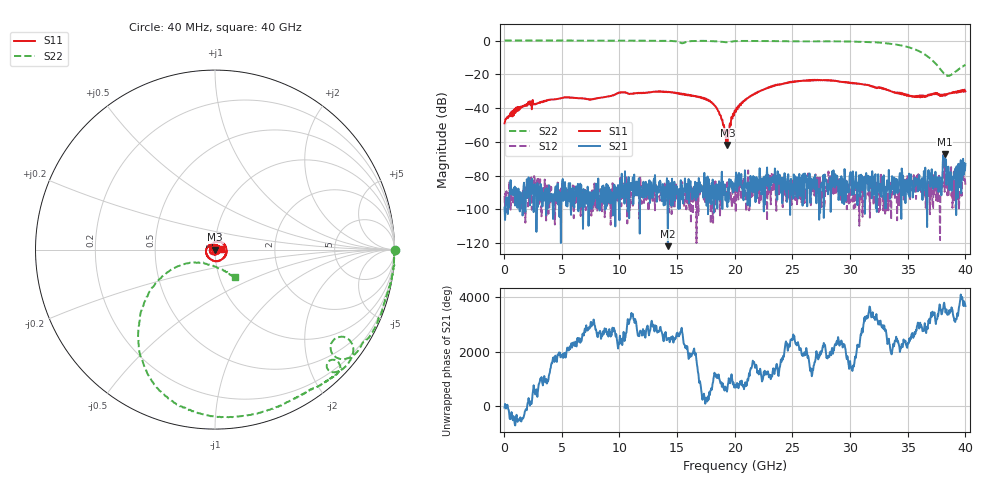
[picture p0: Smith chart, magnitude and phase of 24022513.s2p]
! 3/27/2024 10:51:03 AM
! D:\MS4647AVNA\292M185F 240225XX\24022513.S2P
! CHANNEL.1
! TR.MEASUREMENT
! CORRECTED.DATA
# GHZ S RI R 50.0
! FREQ.GHZ  S11RE  S11IM  S21RE  S21IM  S12RE  S12IM  S22RE  S22IM
!; PortSelection: Port_12
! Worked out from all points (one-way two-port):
!   1000 points, 40 MHz to 40 GHz, reference 50 ohm
!   highest |S21| = -67.38 dB at 38.2 GHz (marker M1); lowest = -121.9 dB at 14.2 GHz (marker M2)
!   lowest |S11| = -61.9 dB at 19.36 GHz (marker M3), VSWR 1.00, Z = 50 - j0.0709 ohm
!   |S11| at or under -10 dB: start of sweep to end of sweep
!   |S22| runs from -21.0 to 0.0 dB; largest |S21 - S12| = 0.00058
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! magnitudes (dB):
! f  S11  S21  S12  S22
! 40 MHz  -49.1  -99.2  -92.1  0.0
! 960 MHz  -43.0  -97.8  -92.8  0.0
! 2.16 GHz  -37.7  -84.3  -95.3  0.0
! 6.72 GHz  -34.3  -98.0  -91.6  -0.1
! 13.36 GHz  -30.1  -88.1  -90.7  -0.2
! 14.2 GHz  -30.5  -121.9  -91.7  -0.2
! 17.88 GHz  -36.3  -86.3  -89.0  -0.3
! 18.6 GHz  -42.1  -89.4  -91.7  -0.6
! 19.2 GHz  -54.1  -94.8  -89.0  -1.0
! 19.36 GHz  -61.9  -98.6  -83.9  -1.0
! 20.04 GHz  -41.4  -84.0  -87.2  -0.4
! 21.08 GHz  -34.2  -84.6  -87.2  -0.3
! 22.64 GHz  -28.7  -84.7  -85.2  -0.3
! 26.68 GHz  -23.7  -85.8  -82.3  -0.5
! 33.36 GHz  -29.7  -76.7  -91.9  -1.8
! 36.04 GHz  -33.0  -88.7  -83.1  -6.6
! 37.8 GHz  -32.9  -88.8  -118.3  -16.7
! 38.04 GHz  -32.0  -72.0  -78.1  -18.8
! 38.2 GHz  -32.1  -67.4  -89.6  -20.2
! 38.48 GHz  -31.5  -78.3  -84.8  -21.0
! 38.8 GHz  -31.2  -89.0  -92.2  -20.2
! 40 GHz  -30.1  -73.1  -85.5  -14.3
